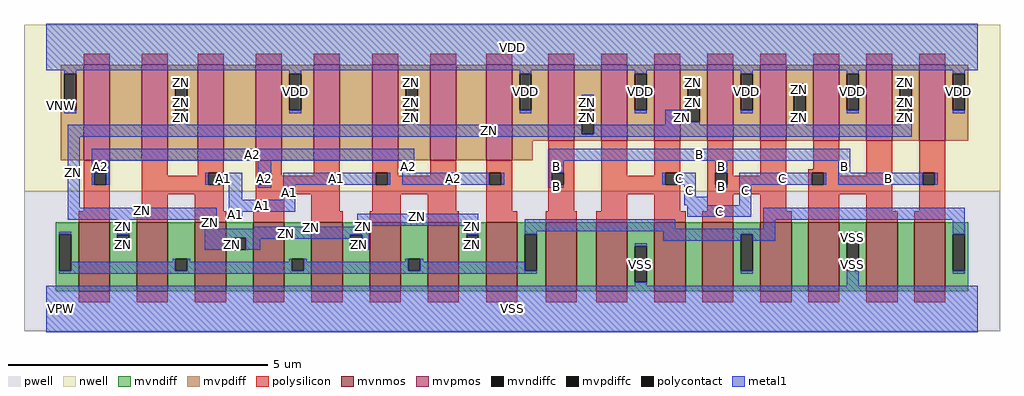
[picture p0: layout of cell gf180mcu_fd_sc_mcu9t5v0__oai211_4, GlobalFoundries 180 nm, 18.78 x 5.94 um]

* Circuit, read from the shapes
.subckt gf180mcu_fd_sc_mcu9t5v0__oai211_4 A1 A2 B C ZN VDD VNW VPW VSS
XM1 ZN A2 n1 VPW nfet_06v0 w=1.32u l=0.6u m=4
XM2 n1 A1 ZN VPW nfet_06v0 w=1.32u l=0.6u m=4
XM3 n2 B n1 VPW nfet_06v0 w=1.32u l=0.6u
XM4 VSS C n2 VPW nfet_06v0 w=1.32u l=0.6u
XM5 n3 C VSS VPW nfet_06v0 w=1.32u l=0.6u
XM6 n1 B n3 VPW nfet_06v0 w=1.32u l=0.6u
XM7 n4 B n1 VPW nfet_06v0 w=1.32u l=0.6u
XM8 VSS C n4 VPW nfet_06v0 w=1.32u l=0.6u
XM9 n5 C VSS VPW nfet_06v0 w=1.32u l=0.6u
XM10 n1 B n5 VPW nfet_06v0 w=1.32u l=0.6u
XM11 n6 A2 VDD VNW pfet_06v0 w=1.83u l=0.5u
XM12 ZN A1 n6 VNW pfet_06v0 w=1.83u l=0.5u
XM13 n7 A1 ZN VNW pfet_06v0 w=1.83u l=0.5u
XM14 VDD A2 n7 VNW pfet_06v0 w=1.83u l=0.5u
XM15 n8 A2 VDD VNW pfet_06v0 w=1.83u l=0.5u
XM16 ZN A1 n8 VNW pfet_06v0 w=1.83u l=0.5u
XM17 n9 A1 ZN VNW pfet_06v0 w=1.83u l=0.5u
XM18 VDD A2 n9 VNW pfet_06v0 w=1.83u l=0.5u
XM19 ZN B VDD VNW pfet_06v0 w=1.46u l=0.5u m=4
XM20 VDD C ZN VNW pfet_06v0 w=1.46u l=0.5u m=4
.ends

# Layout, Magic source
magic
tech gf180mcuD
magscale 1 10
<< nwell >>
rect -86 453 3670 1094
<< pwell >>
rect -86 -86 3670 453
<< mvnmos >>
rect 124 69 244 333
rect 348 69 468 333
rect 572 69 692 333
rect 796 69 916 333
rect 1020 69 1140 333
rect 1244 69 1364 333
rect 1468 69 1588 333
rect 1692 69 1812 333
rect 1922 69 2042 333
rect 2116 69 2236 333
rect 2340 69 2460 333
rect 2524 69 2644 333
rect 2748 69 2868 333
rect 2932 69 3052 333
rect 3156 69 3276 333
rect 3340 69 3460 333
<< mvpmos >>
rect 144 573 244 939
rect 368 573 468 939
rect 582 573 682 939
rect 806 573 906 939
rect 1030 573 1130 939
rect 1254 573 1354 939
rect 1478 573 1578 939
rect 1692 573 1792 939
rect 1932 647 2032 939
rect 2136 647 2236 939
rect 2340 647 2440 939
rect 2544 647 2644 939
rect 2748 647 2848 939
rect 2952 647 3052 939
rect 3156 647 3256 939
rect 3360 647 3460 939
<< mvndiff >>
rect 36 287 124 333
rect 36 147 49 287
rect 95 147 124 287
rect 36 69 124 147
rect 244 285 348 333
rect 244 239 273 285
rect 319 239 348 285
rect 244 69 348 239
rect 468 193 572 333
rect 468 147 497 193
rect 543 147 572 193
rect 468 69 572 147
rect 692 274 796 333
rect 692 228 721 274
rect 767 228 796 274
rect 692 69 796 228
rect 916 193 1020 333
rect 916 147 945 193
rect 991 147 1020 193
rect 916 69 1020 147
rect 1140 285 1244 333
rect 1140 239 1169 285
rect 1215 239 1244 285
rect 1140 69 1244 239
rect 1364 193 1468 333
rect 1364 147 1393 193
rect 1439 147 1468 193
rect 1364 69 1468 147
rect 1588 285 1692 333
rect 1588 239 1617 285
rect 1663 239 1692 285
rect 1588 69 1692 239
rect 1812 287 1922 333
rect 1812 147 1841 287
rect 1887 147 1922 287
rect 1812 69 1922 147
rect 2042 69 2116 333
rect 2236 242 2340 333
rect 2236 102 2265 242
rect 2311 102 2340 242
rect 2236 69 2340 102
rect 2460 69 2524 333
rect 2644 287 2748 333
rect 2644 147 2673 287
rect 2719 147 2748 287
rect 2644 69 2748 147
rect 2868 69 2932 333
rect 3052 287 3156 333
rect 3052 147 3081 287
rect 3127 147 3156 287
rect 3052 69 3156 147
rect 3276 69 3340 333
rect 3460 287 3548 333
rect 3460 147 3489 287
rect 3535 147 3548 287
rect 3460 69 3548 147
<< mvpdiff >>
rect 56 905 144 939
rect 56 765 69 905
rect 115 765 144 905
rect 56 573 144 765
rect 244 573 368 939
rect 468 861 582 939
rect 468 721 497 861
rect 543 721 582 861
rect 468 573 582 721
rect 682 573 806 939
rect 906 905 1030 939
rect 906 765 935 905
rect 981 765 1030 905
rect 906 573 1030 765
rect 1130 573 1254 939
rect 1354 861 1478 939
rect 1354 721 1383 861
rect 1429 721 1478 861
rect 1354 573 1478 721
rect 1578 573 1692 939
rect 1792 905 1932 939
rect 1792 765 1821 905
rect 1867 765 1932 905
rect 1792 647 1932 765
rect 2032 813 2136 939
rect 2032 673 2061 813
rect 2107 673 2136 813
rect 2032 647 2136 673
rect 2236 905 2340 939
rect 2236 765 2265 905
rect 2311 765 2340 905
rect 2236 647 2340 765
rect 2440 861 2544 939
rect 2440 721 2469 861
rect 2515 721 2544 861
rect 2440 647 2544 721
rect 2644 905 2748 939
rect 2644 765 2673 905
rect 2719 765 2748 905
rect 2644 647 2748 765
rect 2848 858 2952 939
rect 2848 718 2877 858
rect 2923 718 2952 858
rect 2848 647 2952 718
rect 3052 905 3156 939
rect 3052 765 3081 905
rect 3127 765 3156 905
rect 3052 647 3156 765
rect 3256 861 3360 939
rect 3256 721 3285 861
rect 3331 721 3360 861
rect 3256 647 3360 721
rect 3460 905 3548 939
rect 3460 765 3489 905
rect 3535 765 3548 905
rect 3460 647 3548 765
rect 1792 573 1872 647
<< mvndiffc >>
rect 49 147 95 287
rect 273 239 319 285
rect 497 147 543 193
rect 721 228 767 274
rect 945 147 991 193
rect 1169 239 1215 285
rect 1393 147 1439 193
rect 1617 239 1663 285
rect 1841 147 1887 287
rect 2265 102 2311 242
rect 2673 147 2719 287
rect 3081 147 3127 287
rect 3489 147 3535 287
<< mvpdiffc >>
rect 69 765 115 905
rect 497 721 543 861
rect 935 765 981 905
rect 1383 721 1429 861
rect 1821 765 1867 905
rect 2061 673 2107 813
rect 2265 765 2311 905
rect 2469 721 2515 861
rect 2673 765 2719 905
rect 2877 718 2923 858
rect 3081 765 3127 905
rect 3285 721 3331 861
rect 3489 765 3535 905
<< polysilicon >>
rect 144 939 244 983
rect 368 939 468 983
rect 582 939 682 983
rect 806 939 906 983
rect 1030 939 1130 983
rect 1254 939 1354 983
rect 1478 939 1578 983
rect 1692 939 1792 983
rect 1932 939 2032 983
rect 2136 939 2236 983
rect 2340 939 2440 983
rect 2544 939 2644 983
rect 2748 939 2848 983
rect 2952 939 3052 983
rect 3156 939 3256 983
rect 3360 939 3460 983
rect 144 524 244 573
rect 144 478 185 524
rect 231 478 244 524
rect 144 377 244 478
rect 368 513 468 573
rect 582 524 682 573
rect 582 513 623 524
rect 368 478 623 513
rect 669 478 682 524
rect 368 441 682 478
rect 368 377 468 441
rect 124 333 244 377
rect 348 333 468 377
rect 572 377 682 441
rect 806 524 906 573
rect 806 478 819 524
rect 865 513 906 524
rect 1030 513 1130 573
rect 865 478 1130 513
rect 806 441 1130 478
rect 806 377 916 441
rect 572 333 692 377
rect 796 333 916 377
rect 1020 377 1130 441
rect 1254 524 1354 573
rect 1254 478 1267 524
rect 1313 513 1354 524
rect 1478 513 1578 573
rect 1313 478 1578 513
rect 1254 441 1578 478
rect 1254 377 1364 441
rect 1020 333 1140 377
rect 1244 333 1364 377
rect 1468 377 1578 441
rect 1692 524 1792 573
rect 1692 478 1705 524
rect 1751 478 1792 524
rect 1692 377 1792 478
rect 1932 524 2032 647
rect 1932 478 1945 524
rect 1991 478 2032 524
rect 1932 377 2032 478
rect 2136 513 2236 647
rect 2340 524 2440 647
rect 2340 513 2381 524
rect 2136 478 2381 513
rect 2427 478 2440 524
rect 2136 441 2440 478
rect 2136 377 2236 441
rect 1468 333 1588 377
rect 1692 333 1812 377
rect 1922 333 2042 377
rect 2116 333 2236 377
rect 2340 377 2440 441
rect 2544 524 2644 647
rect 2544 478 2575 524
rect 2621 513 2644 524
rect 2748 513 2848 647
rect 2952 537 3052 647
rect 2621 478 2848 513
rect 2544 441 2848 478
rect 2544 377 2644 441
rect 2340 333 2460 377
rect 2524 333 2644 377
rect 2748 377 2848 441
rect 2932 524 3052 537
rect 2932 478 2945 524
rect 2991 513 3052 524
rect 3156 513 3256 647
rect 2991 478 3256 513
rect 2932 441 3256 478
rect 2748 333 2868 377
rect 2932 333 3052 441
rect 3156 377 3256 441
rect 3360 524 3460 647
rect 3360 478 3373 524
rect 3419 478 3460 524
rect 3360 377 3460 478
rect 3156 333 3276 377
rect 3340 333 3460 377
rect 124 25 244 69
rect 348 25 468 69
rect 572 25 692 69
rect 796 25 916 69
rect 1020 25 1140 69
rect 1244 25 1364 69
rect 1468 25 1588 69
rect 1692 25 1812 69
rect 1922 25 2042 69
rect 2116 25 2236 69
rect 2340 25 2460 69
rect 2524 25 2644 69
rect 2748 25 2868 69
rect 2932 25 3052 69
rect 3156 25 3276 69
rect 3340 25 3460 69
<< polycontact >>
rect 185 478 231 524
rect 623 478 669 524
rect 819 478 865 524
rect 1267 478 1313 524
rect 1705 478 1751 524
rect 1945 478 1991 524
rect 2381 478 2427 524
rect 2575 478 2621 524
rect 2945 478 2991 524
rect 3373 478 3419 524
<< metal1 >>
rect 0 918 3584 1098
rect 69 905 115 918
rect 935 905 981 918
rect 69 754 115 765
rect 497 861 543 872
rect 1821 905 1867 918
rect 935 754 981 765
rect 1383 861 1429 872
rect 497 708 543 721
rect 2265 905 2311 918
rect 1821 754 1867 765
rect 2061 813 2107 824
rect 1383 708 1429 721
rect 82 673 2061 708
rect 2673 905 2719 918
rect 2469 861 2515 872
rect 2265 754 2311 765
rect 2382 721 2469 766
rect 3081 905 3127 918
rect 2673 754 2719 765
rect 2877 858 2923 869
rect 2382 708 2515 721
rect 3489 905 3535 918
rect 3081 754 3127 765
rect 3285 861 3331 872
rect 2877 708 2923 718
rect 3489 754 3535 765
rect 3285 708 3331 721
rect 2107 673 3331 708
rect 82 662 3331 673
rect 82 390 128 662
rect 174 570 1416 616
rect 174 524 242 570
rect 814 524 866 570
rect 1370 524 1416 570
rect 1934 570 3094 616
rect 1934 524 1991 570
rect 2575 524 2621 570
rect 3048 524 3094 570
rect 174 478 185 524
rect 231 478 242 524
rect 612 478 623 524
rect 669 478 754 524
rect 702 420 754 478
rect 814 478 819 524
rect 865 478 866 524
rect 814 466 866 478
rect 912 478 1267 524
rect 1313 478 1324 524
rect 1370 478 1705 524
rect 1751 478 1762 524
rect 1934 478 1945 524
rect 2370 478 2381 524
rect 2427 478 2500 524
rect 912 420 958 478
rect 1934 466 1991 478
rect 82 344 656 390
rect 702 374 958 420
rect 2454 431 2500 478
rect 2575 467 2621 478
rect 2667 478 2945 524
rect 2991 478 3002 524
rect 3048 478 3373 524
rect 3419 478 3430 524
rect 2454 400 2546 431
rect 2667 400 2713 478
rect 702 354 754 374
rect 49 287 95 298
rect 273 285 319 344
rect 273 228 319 239
rect 610 308 656 344
rect 1196 320 1663 366
rect 2466 354 2713 400
rect 1196 316 1242 320
rect 798 308 1242 316
rect 610 285 1242 308
rect 610 274 1169 285
rect 610 228 721 274
rect 767 270 1169 274
rect 767 228 824 270
rect 1215 239 1242 285
rect 1169 228 1242 239
rect 1617 285 1663 320
rect 1617 228 1663 239
rect 1841 308 2420 345
rect 2759 344 3535 390
rect 2759 308 2805 344
rect 1841 299 2805 308
rect 1841 287 1887 299
rect 486 182 497 193
rect 95 147 497 182
rect 543 182 554 193
rect 934 182 945 193
rect 543 147 945 182
rect 991 182 1002 193
rect 1382 182 1393 193
rect 991 147 1393 182
rect 1439 182 1450 193
rect 1439 147 1841 182
rect 2374 287 2805 299
rect 2374 262 2673 287
rect 49 136 1887 147
rect 2265 242 2311 253
rect 2719 262 2805 287
rect 3081 287 3127 298
rect 2673 136 2719 147
rect 2265 90 2311 102
rect 3081 90 3127 147
rect 3489 287 3535 344
rect 3489 136 3535 147
rect 0 -90 3584 90
<< labels >>
flabel metal1 s 912 478 1324 524 0 FreeSans 200 0 0 0 A1
port 1 nsew default input
flabel metal1 s 174 570 1416 616 0 FreeSans 200 0 0 0 A2
port 2 nsew default input
flabel metal1 s 1934 570 3094 616 0 FreeSans 200 0 0 0 B
port 3 nsew default input
flabel metal1 s 2667 478 3002 524 0 FreeSans 200 0 0 0 C
port 4 nsew default input
flabel metal1 s 0 918 3584 1098 0 FreeSans 200 0 0 0 VDD
port 6 nsew power bidirectional abutment
flabel metal1 s 3081 253 3127 298 0 FreeSans 200 0 0 0 VSS
port 9 nsew ground bidirectional abutment
flabel metal1 s 3285 869 3331 872 0 FreeSans 200 0 0 0 ZN
port 5 nsew default output
flabel nwell s 10 734 110 834 0 FreeSans 400 0 0 0 VNW
port 7 nsew power bidirectional
flabel pwell s 10 -50 110 50 0 FreeSans 400 0 0 0 VPW
port 8 nsew ground bidirectional
rlabel metal1 s 612 478 754 524 1 A1
port 1 nsew default input
rlabel metal1 s 912 420 958 478 1 A1
port 1 nsew default input
rlabel metal1 s 702 420 754 478 1 A1
port 1 nsew default input
rlabel metal1 s 702 374 958 420 1 A1
port 1 nsew default input
rlabel metal1 s 702 354 754 374 1 A1
port 1 nsew default input
rlabel metal1 s 1370 524 1416 570 1 A2
port 2 nsew default input
rlabel metal1 s 814 524 866 570 1 A2
port 2 nsew default input
rlabel metal1 s 174 524 242 570 1 A2
port 2 nsew default input
rlabel metal1 s 1370 478 1762 524 1 A2
port 2 nsew default input
rlabel metal1 s 814 478 866 524 1 A2
port 2 nsew default input
rlabel metal1 s 174 478 242 524 1 A2
port 2 nsew default input
rlabel metal1 s 814 466 866 478 1 A2
port 2 nsew default input
rlabel metal1 s 3048 524 3094 570 1 B
port 3 nsew default input
rlabel metal1 s 2575 524 2621 570 1 B
port 3 nsew default input
rlabel metal1 s 1934 524 1991 570 1 B
port 3 nsew default input
rlabel metal1 s 3048 478 3430 524 1 B
port 3 nsew default input
rlabel metal1 s 2575 478 2621 524 1 B
port 3 nsew default input
rlabel metal1 s 1934 478 1991 524 1 B
port 3 nsew default input
rlabel metal1 s 2575 467 2621 478 1 B
port 3 nsew default input
rlabel metal1 s 1934 467 1991 478 1 B
port 3 nsew default input
rlabel metal1 s 1934 466 1991 467 1 B
port 3 nsew default input
rlabel metal1 s 2370 478 2500 524 1 C
port 4 nsew default input
rlabel metal1 s 2667 431 2713 478 1 C
port 4 nsew default input
rlabel metal1 s 2454 431 2500 478 1 C
port 4 nsew default input
rlabel metal1 s 2667 400 2713 431 1 C
port 4 nsew default input
rlabel metal1 s 2454 400 2546 431 1 C
port 4 nsew default input
rlabel metal1 s 2466 354 2713 400 1 C
port 4 nsew default input
rlabel metal1 s 2469 869 2515 872 1 ZN
port 5 nsew default output
rlabel metal1 s 1383 869 1429 872 1 ZN
port 5 nsew default output
rlabel metal1 s 497 869 543 872 1 ZN
port 5 nsew default output
rlabel metal1 s 3285 824 3331 869 1 ZN
port 5 nsew default output
rlabel metal1 s 2877 824 2923 869 1 ZN
port 5 nsew default output
rlabel metal1 s 2469 824 2515 869 1 ZN
port 5 nsew default output
rlabel metal1 s 1383 824 1429 869 1 ZN
port 5 nsew default output
rlabel metal1 s 497 824 543 869 1 ZN
port 5 nsew default output
rlabel metal1 s 3285 766 3331 824 1 ZN
port 5 nsew default output
rlabel metal1 s 2877 766 2923 824 1 ZN
port 5 nsew default output
rlabel metal1 s 2469 766 2515 824 1 ZN
port 5 nsew default output
rlabel metal1 s 2061 766 2107 824 1 ZN
port 5 nsew default output
rlabel metal1 s 1383 766 1429 824 1 ZN
port 5 nsew default output
rlabel metal1 s 497 766 543 824 1 ZN
port 5 nsew default output
rlabel metal1 s 3285 708 3331 766 1 ZN
port 5 nsew default output
rlabel metal1 s 2877 708 2923 766 1 ZN
port 5 nsew default output
rlabel metal1 s 2382 708 2515 766 1 ZN
port 5 nsew default output
rlabel metal1 s 2061 708 2107 766 1 ZN
port 5 nsew default output
rlabel metal1 s 1383 708 1429 766 1 ZN
port 5 nsew default output
rlabel metal1 s 497 708 543 766 1 ZN
port 5 nsew default output
rlabel metal1 s 82 662 3331 708 1 ZN
port 5 nsew default output
rlabel metal1 s 82 390 128 662 1 ZN
port 5 nsew default output
rlabel metal1 s 82 366 656 390 1 ZN
port 5 nsew default output
rlabel metal1 s 1196 344 1663 366 1 ZN
port 5 nsew default output
rlabel metal1 s 82 344 656 366 1 ZN
port 5 nsew default output
rlabel metal1 s 1196 320 1663 344 1 ZN
port 5 nsew default output
rlabel metal1 s 610 320 656 344 1 ZN
port 5 nsew default output
rlabel metal1 s 273 320 319 344 1 ZN
port 5 nsew default output
rlabel metal1 s 1617 316 1663 320 1 ZN
port 5 nsew default output
rlabel metal1 s 1196 316 1242 320 1 ZN
port 5 nsew default output
rlabel metal1 s 610 316 656 320 1 ZN
port 5 nsew default output
rlabel metal1 s 273 316 319 320 1 ZN
port 5 nsew default output
rlabel metal1 s 1617 308 1663 316 1 ZN
port 5 nsew default output
rlabel metal1 s 798 308 1242 316 1 ZN
port 5 nsew default output
rlabel metal1 s 610 308 656 316 1 ZN
port 5 nsew default output
rlabel metal1 s 273 308 319 316 1 ZN
port 5 nsew default output
rlabel metal1 s 1617 270 1663 308 1 ZN
port 5 nsew default output
rlabel metal1 s 610 270 1242 308 1 ZN
port 5 nsew default output
rlabel metal1 s 273 270 319 308 1 ZN
port 5 nsew default output
rlabel metal1 s 1617 228 1663 270 1 ZN
port 5 nsew default output
rlabel metal1 s 1169 228 1242 270 1 ZN
port 5 nsew default output
rlabel metal1 s 610 228 824 270 1 ZN
port 5 nsew default output
rlabel metal1 s 273 228 319 270 1 ZN
port 5 nsew default output
rlabel metal1 s 3489 754 3535 918 1 VDD
port 6 nsew power bidirectional abutment
rlabel metal1 s 3081 754 3127 918 1 VDD
port 6 nsew power bidirectional abutment
rlabel metal1 s 2673 754 2719 918 1 VDD
port 6 nsew power bidirectional abutment
rlabel metal1 s 2265 754 2311 918 1 VDD
port 6 nsew power bidirectional abutment
rlabel metal1 s 1821 754 1867 918 1 VDD
port 6 nsew power bidirectional abutment
rlabel metal1 s 935 754 981 918 1 VDD
port 6 nsew power bidirectional abutment
rlabel metal1 s 69 754 115 918 1 VDD
port 6 nsew power bidirectional abutment
rlabel metal1 s 3081 90 3127 253 1 VSS
port 9 nsew ground bidirectional abutment
rlabel metal1 s 2265 90 2311 253 1 VSS
port 9 nsew ground bidirectional abutment
rlabel metal1 s 0 -90 3584 90 1 VSS
port 9 nsew ground bidirectional abutment
<< properties >>
string FIXED_BBOX 0 0 3584 1008
string GDS_END 220710
string GDS_FILE $PDKPATH/libs.ref/gf180mcu_fd_sc_mcu9t5v0/gds/gf180mcu_fd_sc_mcu9t5v0.gds
string GDS_START 212630
string LEFclass core
string LEFsite GF018hv5v_green_sc9
string LEFsymmetry X Y
<< end >>
